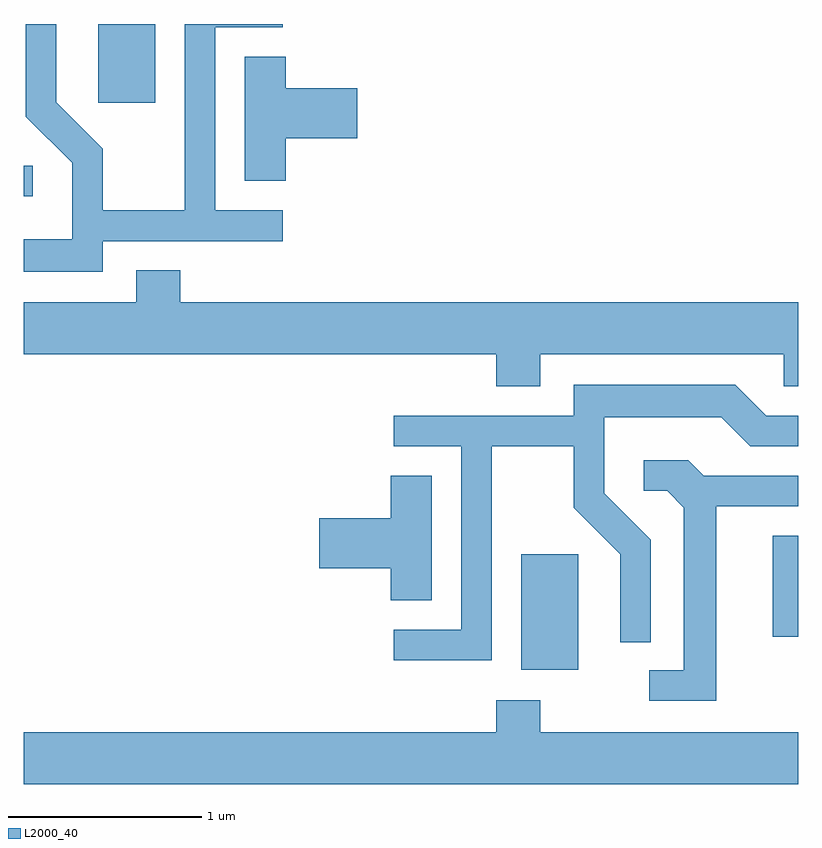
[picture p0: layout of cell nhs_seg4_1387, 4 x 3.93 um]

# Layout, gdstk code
import gdstk
lib = gdstk.Library(unit=1e-6, precision=1e-09)
def R(c, l, rs):  # rectangles x0, y0, x1, y1
    for r in rs: c.add(gdstk.rectangle(r[:2], r[2:], *l))
def P(c, l, *ps):  # polygons
    for p in ps: c.add(gdstk.Polygon(p, *l))
L2000_40 = (2000, 40)

nhs_seg4_1387 = lib.new_cell('nhs_seg4_1387')
R(nhs_seg4_1387, L2000_40, [(228.181,1308.646,228.474,1309.244), (229.481,1308.816,229.611,1309.339), (225.611,1311.091,225.658,1311.249), (225.996,1311.576,226.289,1311.982)])
P(nhs_seg4_1387, L2000_40, [(226.019,1310.861),(226.948,1310.861),(226.948,1311.019),(226.599,1311.019),(226.599,1311.966),(226.948,1311.966),(226.948,1311.982),(226.441,1311.982),(226.441,1311.019),(226.019,1311.019),(226.019,1311.337),(225.779,1311.577),(225.779,1311.982),(225.621,1311.982),(225.621,1311.504),(225.861,1311.264),(225.861,1310.869),(225.611,1310.869),(225.611,1310.701),(226.019,1310.701)],
  [(226.964,1311.391),(227.334,1311.391),(227.334,1311.649),(226.964,1311.649),(226.964,1311.814),(226.751,1311.814),(226.751,1311.171),(226.964,1311.171)],
  [(228.279,1310.276),(229.536,1310.276),(229.536,1310.111),(229.611,1310.111),(229.611,1310.544),(226.419,1310.544),(226.419,1310.709),(226.191,1310.709),(226.191,1310.544),(225.611,1310.544),(225.611,1310.276),(228.051,1310.276),(228.051,1310.111),(228.279,1310.111)],
  [(228.029,1309.801),(228.451,1309.801),(228.451,1309.484),(228.691,1309.244),(228.691,1308.788),(228.849,1308.788),(228.849,1309.317),(228.609,1309.557),(228.609,1309.951),(229.214,1309.951),(229.364,1309.801),(229.611,1309.801),(229.611,1309.959),(229.447,1309.959),(229.287,1310.119),(228.451,1310.119),(228.451,1309.959),(227.523,1309.959),(227.523,1309.801),(227.871,1309.801),(227.871,1308.854),(227.523,1308.854),(227.523,1308.696),(228.029,1308.696)],
  [(229.189,1309.491),(229.611,1309.491),(229.611,1309.649),(229.122,1309.649),(229.042,1309.729),(228.813,1309.729),(228.813,1309.571),(228.934,1309.571),(229.021,1309.484),(229.021,1308.644),(228.843,1308.644),(228.843,1308.486),(229.189,1308.486)],
  [(227.719,1309.649),(227.506,1309.649),(227.506,1309.429),(227.136,1309.429),(227.136,1309.171),(227.506,1309.171),(227.506,1309.006),(227.719,1309.006)],
  [(229.611,1308.324),(228.279,1308.324),(228.279,1308.489),(228.051,1308.489),(228.051,1308.324),(225.611,1308.324),(225.611,1308.056),(229.611,1308.056)])

lib.write_gds('nhs_seg4_1387.gds')
